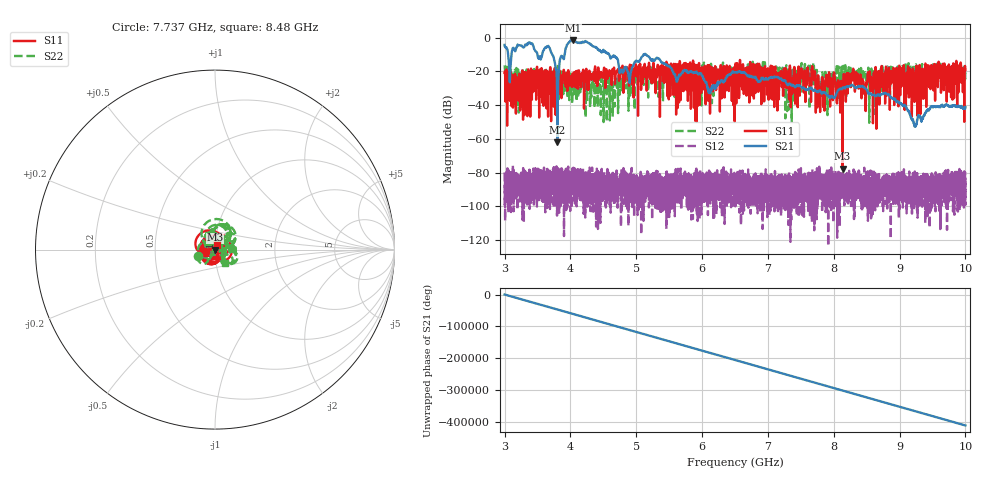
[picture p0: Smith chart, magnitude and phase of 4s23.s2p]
!Agilent Technologies,E8363B,MY43030572,A.06.04.32
!Agilent E8363B: A.06.04.32
!Date: Monday, June 06, 2011 14:59:36
!Correction: S11(Full 2 Port(1,2)) S21(Full 2 Port(1,2)) S12(Full 2 Port(1,2)) S22(Full 2 Port(1,2))
!S2P File: Measurements: S11, S21, S12, S22:
# Hz S  dB  R 50
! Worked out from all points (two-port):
!   6401 points, 3 GHz to 10 GHz, reference 50 ohm
!   highest |S21| = -1.58 dB at 4.04 GHz (marker M1); lowest = -62.0 dB at 3.802 GHz (marker M2)
!   |S21| within 3 dB of the highest: 3.306 GHz to 3.431 GHz (125.1 MHz wide, 3.71 % of centre); 3.943 GHz to 4.326 GHz (382.4 MHz wide, 9.25 % of centre)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
!   lowest |S11| = -77.8 dB at 8.134 GHz (marker M3), VSWR 1.00, Z = 50 - j0.00997 ohm
!   |S11| at or under -10 dB: start of sweep to end of sweep
!   |S22| runs from -50.5 to -14.2 dB; largest |S21 - S12| = 0.83
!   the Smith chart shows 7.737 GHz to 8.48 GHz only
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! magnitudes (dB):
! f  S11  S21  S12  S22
! 3 GHz  -20.8  -4.2  -80.0  -16.4
! 3.08 GHz  -29.4  -25.3  -82.0  -22.7
! 3.213 GHz  -34.0  -4.3  -82.6  -31.4
! 3.66 GHz  -36.0  -5.0  -85.4  -23.0
! 3.802 GHz  -22.5  -62.0  -85.2  -25.2
! 4.04 GHz  -23.6  -1.6  -85.5  -22.2
! 4.167 GHz  -22.5  -2.9  -88.9  -24.0
! 4.89 GHz  -28.4  -24.4  -86.3  -22.0
! 5.116 GHz  -22.4  -10.0  -87.9  -20.8
! 5.334 GHz  -19.3  -12.3  -92.7  -30.1
! 6.112 GHz  -16.9  -32.7  -85.5  -18.9
! 6.5 GHz  -19.2  -20.4  -89.0  -21.6
! 7.667 GHz  -17.9  -30.0  -87.4  -18.1
! 7.827 GHz  -23.3  -32.9  -86.6  -20.7
! 7.904 GHz  -26.7  -34.5  -89.7  -45.9
! 8.134 GHz  -77.8  -29.7  -83.0  -26.8
! 8.275 GHz  -22.5  -28.0  -93.8  -21.4
! 8.455 GHz  -27.1  -29.3  -86.2  -22.8
! 8.834 GHz  -19.5  -33.5  -84.3  -21.5
! 9.228 GHz  -37.8  -52.4  -87.7  -19.8
! 9.501 GHz  -18.7  -41.0  -80.9  -16.6
! 10 GHz  -19.2  -41.1  -97.9  -19.7
